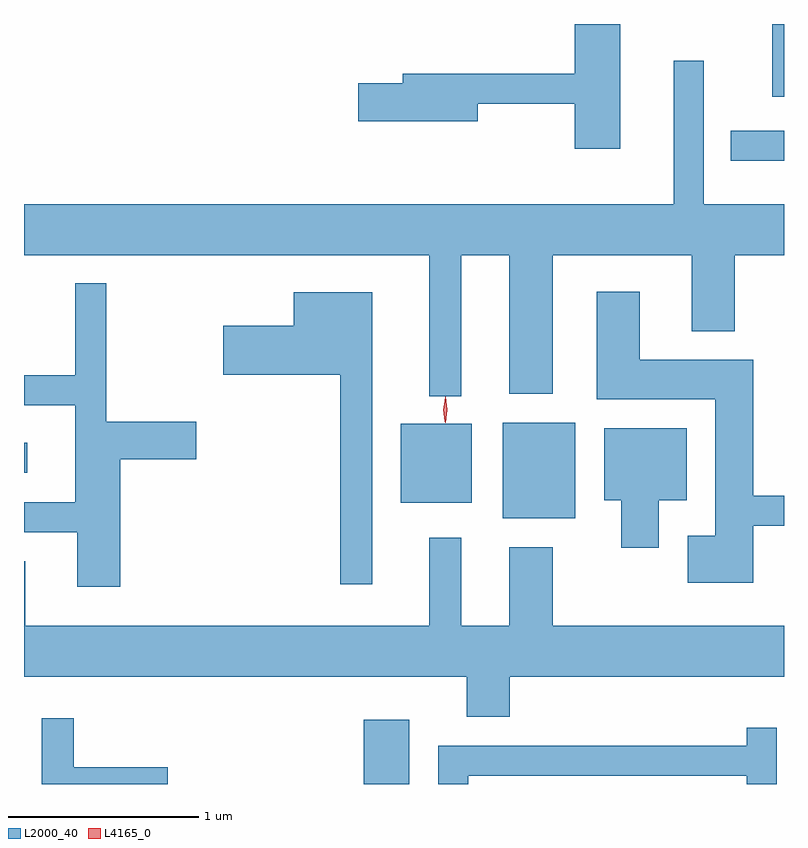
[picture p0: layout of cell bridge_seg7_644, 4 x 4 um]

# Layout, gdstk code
import gdstk
lib = gdstk.Library(unit=1e-6, precision=1e-09)
def R(c, l, rs):  # rectangles x0, y0, x1, y1
    for r in rs: c.add(gdstk.rectangle(r[:2], r[2:], *l))
def P(c, l, *ps):  # polygons
    for p in ps: c.add(gdstk.Polygon(p, *l))
L2000_40 = (2000, 40)
L4165_0 = (4165, 0)

bridge_seg7_644 = lib.new_cell('bridge_seg7_644')
R(bridge_seg7_644, L2000_40, [(920.516,1693.772,920.754,1694.109), (921.246,1695.171,921.629,1695.674), (920.711,1695.251,921.084,1695.669), (918.727,1695.411,918.743,1695.569), (922.448,1697.051,922.727,1697.209), (922.666,1697.388,922.727,1697.772)])
P(bridge_seg7_644, L2000_40, [(921.864,1697.772),(921.626,1697.772),(921.626,1697.509),(920.721,1697.509),(920.721,1697.459),(920.486,1697.459),(920.486,1697.261),(921.114,1697.261),(921.114,1697.351),(921.626,1697.351),(921.626,1697.116),(921.864,1697.116)],
  [(921.029,1696.556),(921.281,1696.556),(921.281,1695.826),(921.509,1695.826),(921.509,1696.556),(922.241,1696.556),(922.241,1696.156),(922.469,1696.156),(922.469,1696.556),(922.727,1696.556),(922.727,1696.824),(922.304,1696.824),(922.304,1697.578),(922.146,1697.578),(922.146,1696.824),(918.727,1696.824),(918.727,1696.556),(920.861,1696.556),(920.861,1695.813),(921.029,1695.813)],
  [(919.234,1695.481),(919.634,1695.481),(919.634,1695.679),(919.159,1695.679),(919.159,1696.408),(918.996,1696.408),(918.996,1695.924),(918.727,1695.924),(918.727,1695.766),(918.996,1695.766),(918.996,1695.254),(918.727,1695.254),(918.727,1695.096),(919.006,1695.096),(919.006,1694.811),(919.234,1694.811)],
  [(922.564,1695.131),(922.727,1695.131),(922.727,1695.289),(922.564,1695.289),(922.564,1696.004),(921.969,1696.004),(921.969,1696.364),(921.741,1696.364),(921.741,1695.796),(922.366,1695.796),(922.366,1695.079),(922.221,1695.079),(922.221,1694.831),(922.564,1694.831)],
  [(920.559,1696.359),(920.146,1696.359),(920.146,1696.184),(919.776,1696.184),(919.776,1695.926),(920.391,1695.926),(920.391,1694.823),(920.559,1694.823)],
  [(922.069,1695.266),(922.214,1695.266),(922.214,1695.644),(921.781,1695.644),(921.781,1695.266),(921.871,1695.266),(921.871,1695.016),(922.069,1695.016)],
  [(921.284,1694.336),(922.727,1694.336),(922.727,1694.604),(921.509,1694.604),(921.509,1695.019),(921.281,1695.019),(921.281,1694.604),(921.029,1694.604),(921.029,1695.068),(920.861,1695.068),(920.861,1694.604),(918.734,1694.604),(918.734,1694.944),(918.727,1694.944),(918.727,1694.336),(921.056,1694.336),(921.056,1694.126),(921.284,1694.126)],
  [(919.484,1693.859),(918.989,1693.859),(918.989,1694.118),(918.821,1694.118),(918.821,1693.772),(919.484,1693.772)],
  [(921.064,1693.816),(922.531,1693.816),(922.531,1693.772),(922.689,1693.772),(922.689,1694.068),(922.531,1694.068),(922.531,1693.974),(920.906,1693.974),(920.906,1693.772),(921.064,1693.772)])
P(bridge_seg7_644, L4165_0, [(920.942,1695.678),(920.942,1695.679),(920.933,1695.743),(920.944,1695.806),(920.944,1695.807),(920.945,1695.806),(920.953,1695.742),(920.943,1695.679)],
  [(920.945,1695.674),(920.945,1695.674),(920.935,1695.742),(920.945,1695.81),(920.945,1695.81),(920.946,1695.81),(920.955,1695.742),(920.946,1695.674)])

lib.write_gds('bridge_seg7_644.gds')
